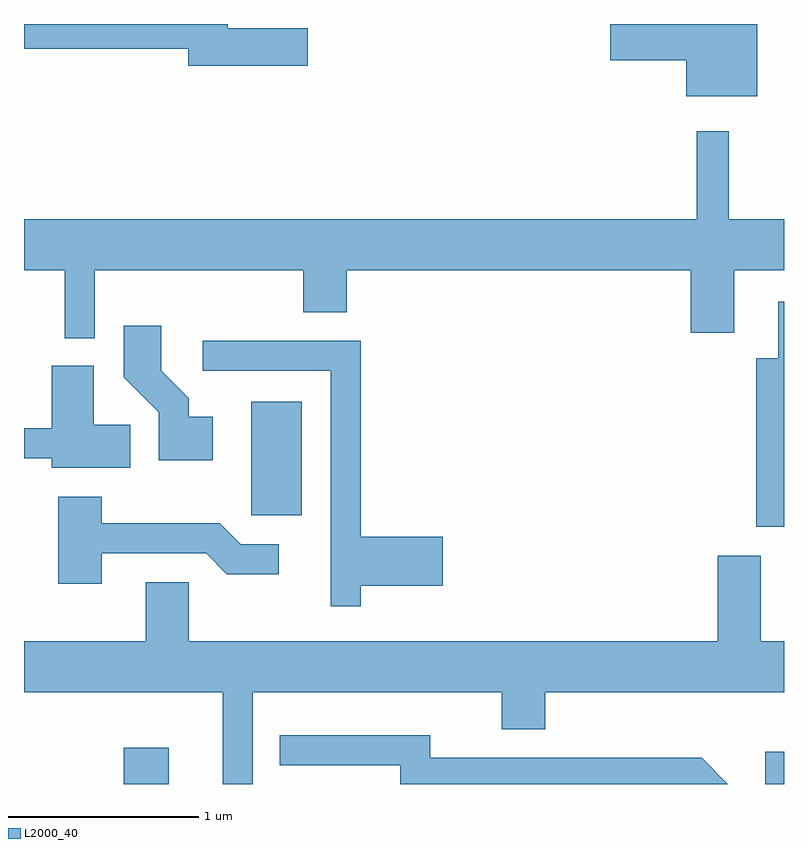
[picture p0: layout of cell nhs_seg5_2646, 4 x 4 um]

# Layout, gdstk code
import gdstk
lib = gdstk.Library(unit=1e-6, precision=1e-09)
def R(c, l, rs):  # rectangles x0, y0, x1, y1
    for r in rs: c.add(gdstk.rectangle(r[:2], r[2:], *l))
def P(c, l, *ps):  # polygons
    for p in ps: c.add(gdstk.Polygon(p, *l))
L2000_40 = (2000, 40)

nhs_seg5_2646 = lib.new_cell('nhs_seg5_2646')
R(nhs_seg5_2646, L2000_40, [(264.136,1474.072,264.374,1474.264), (267.511,1474.072,267.611,1474.243), (264.806,1475.486,265.074,1476.084)])
P(nhs_seg5_2646, L2000_40, [(265.104,1478.049),(264.684,1478.049),(264.684,1478.072),(263.611,1478.072),(263.611,1477.941),(264.476,1477.941),(264.476,1477.851),(265.104,1477.851)],
  [(267.469,1478.072),(266.696,1478.072),(266.696,1477.881),(267.096,1477.881),(267.096,1477.691),(267.469,1477.691)],
  [(263.984,1476.776),(265.081,1476.776),(265.081,1476.556),(265.309,1476.556),(265.309,1476.776),(267.121,1476.776),(267.121,1476.446),(267.349,1476.446),(267.349,1476.776),(267.611,1476.776),(267.611,1477.044),(267.319,1477.044),(267.319,1477.508),(267.151,1477.508),(267.151,1477.044),(263.611,1477.044),(263.611,1476.776),(263.826,1476.776),(263.826,1476.418),(263.984,1476.418)],
  [(267.611,1476.609),(267.581,1476.609),(267.581,1476.314),(267.466,1476.314),(267.466,1475.426),(267.611,1475.426)],
  [(264.604,1476.004),(264.479,1476.004),(264.479,1476.102),(264.334,1476.247),(264.334,1476.484),(264.136,1476.484),(264.136,1476.214),(264.321,1476.029),(264.321,1475.776),(264.604,1475.776)],
  [(265.384,1475.116),(265.814,1475.116),(265.814,1475.374),(265.384,1475.374),(265.384,1476.404),(264.553,1476.404),(264.553,1476.246),(265.226,1476.246),(265.226,1475.008),(265.384,1475.008)],
  [(264.169,1475.964),(263.979,1475.964),(263.979,1476.274),(263.756,1476.274),(263.756,1475.944),(263.611,1475.944),(263.611,1475.786),(263.756,1475.786),(263.756,1475.736),(264.169,1475.736)],
  [(264.019,1475.286),(264.569,1475.286),(264.679,1475.176),(264.953,1475.176),(264.953,1475.334),(264.752,1475.334),(264.642,1475.444),(264.019,1475.444),(264.019,1475.584),(263.791,1475.584),(263.791,1475.126),(264.019,1475.126)],
  [(264.814,1474.556),(266.126,1474.556),(266.126,1474.361),(266.354,1474.361),(266.354,1474.556),(267.611,1474.556),(267.611,1474.824),(267.489,1474.824),(267.489,1475.274),(267.261,1475.274),(267.261,1474.824),(264.479,1474.824),(264.479,1475.134),(264.251,1475.134),(264.251,1474.824),(263.611,1474.824),(263.611,1474.556),(264.656,1474.556),(264.656,1474.072),(264.814,1474.072)],
  [(267.177,1474.209),(265.749,1474.209),(265.749,1474.329),(264.958,1474.329),(264.958,1474.171),(265.591,1474.171),(265.591,1474.072),(267.314,1474.072)])

lib.write_gds('nhs_seg5_2646.gds')
